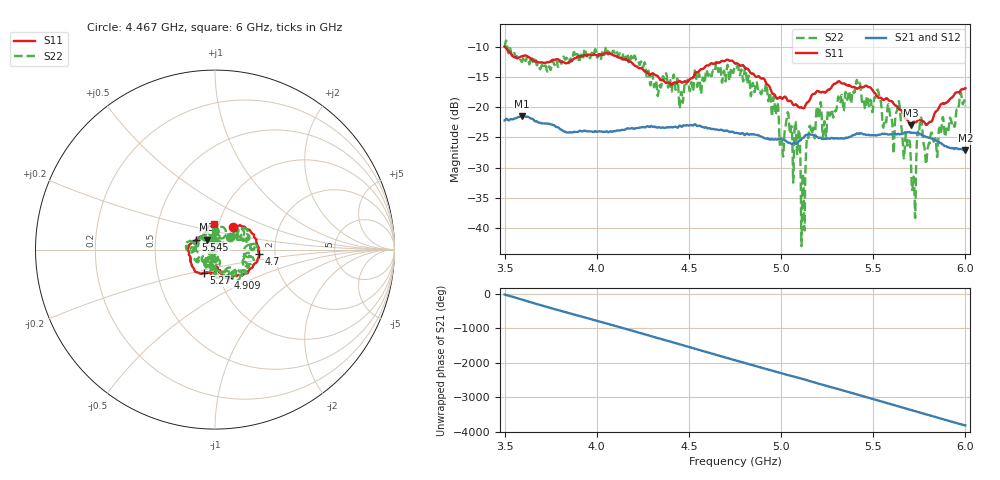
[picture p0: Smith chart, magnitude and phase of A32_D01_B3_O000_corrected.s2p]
! Created with skrf 1.9.0 (http://scikit-rf.org).
# Hz S RI R 50.0
!freq ReS11 ImS11 ReS21 ImS21 ReS12 ImS12 ReS22 ImS22
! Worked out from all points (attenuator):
!   1601 points, 3.5 GHz to 6 GHz, reference 50 ohm
!   highest |S21| = -21.47 dB at 3.592 GHz (marker M1); lowest = -27.1 dB at 6 GHz (marker M2)
!   lowest |S11| = -23.0 dB at 5.703 GHz (marker M3), VSWR 1.15, Z = 45.4 + j4.97 ohm
!   |S11| at or under -10 dB: 3.503 GHz to end of sweep
!   |S22| runs from -43.1 to -8.9 dB; largest |S21 - S12| = 0.0012
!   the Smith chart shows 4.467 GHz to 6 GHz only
!   S11 on the Smith chart (normalised r, x): 4.467 GHz: 1.18, +0.31; 4.7 GHz: 1.64, -0.08; 4.909 GHz: 1.09, -0.35; 5.27 GHz: 0.85, -0.23; 5.545 GHz: 0.80, +0.09; 6 GHz: 0.95, +0.28
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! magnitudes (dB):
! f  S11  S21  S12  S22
! 3.5 GHz  -9.9  -22.2  -22.2  -10.1
! 3.592 GHz  -11.5  -21.5  -21.5  -12.4
! 3.917 GHz  -11.5  -24.0  -24.0  -11.3
! 4.334 GHz  -15.0  -23.3  -23.3  -17.5
! 4.467 GHz  -15.8  -23.1  -23.1  -19.3
! 4.7 GHz  -12.2  -23.9  -23.9  -15.5
! 4.75 GHz  -12.7  -24.3  -24.2  -13.2
! 4.909 GHz  -15.3  -25.1  -25.1  -17.5
! 5.003 GHz  -18.5  -25.3  -25.4  -25.3
! 5.088 GHz  -19.7  -25.9  -25.9  -28.0
! 5.119 GHz  -20.1  -25.1  -25.1  -31.0
! 5.167 GHz  -17.9  -24.6  -24.5  -24.4
! 5.27 GHz  -16.8  -25.1  -25.1  -20.9
! 5.417 GHz  -16.9  -24.4  -24.4  -16.2
! 5.545 GHz  -18.5  -24.4  -24.4  -20.1
! 5.584 GHz  -18.9  -24.5  -24.5  -19.5
! 5.638 GHz  -20.2  -24.4  -24.4  -19.0
! 5.703 GHz  -23.0  -24.2  -24.2  -28.1
! 5.719 GHz  -22.4  -24.3  -24.2  -31.5
! 5.752 GHz  -22.1  -24.4  -24.4  -23.0
! 5.789 GHz  -22.9  -24.9  -24.9  -29.2
! 6 GHz  -16.8  -27.1  -27.1  -19.8
